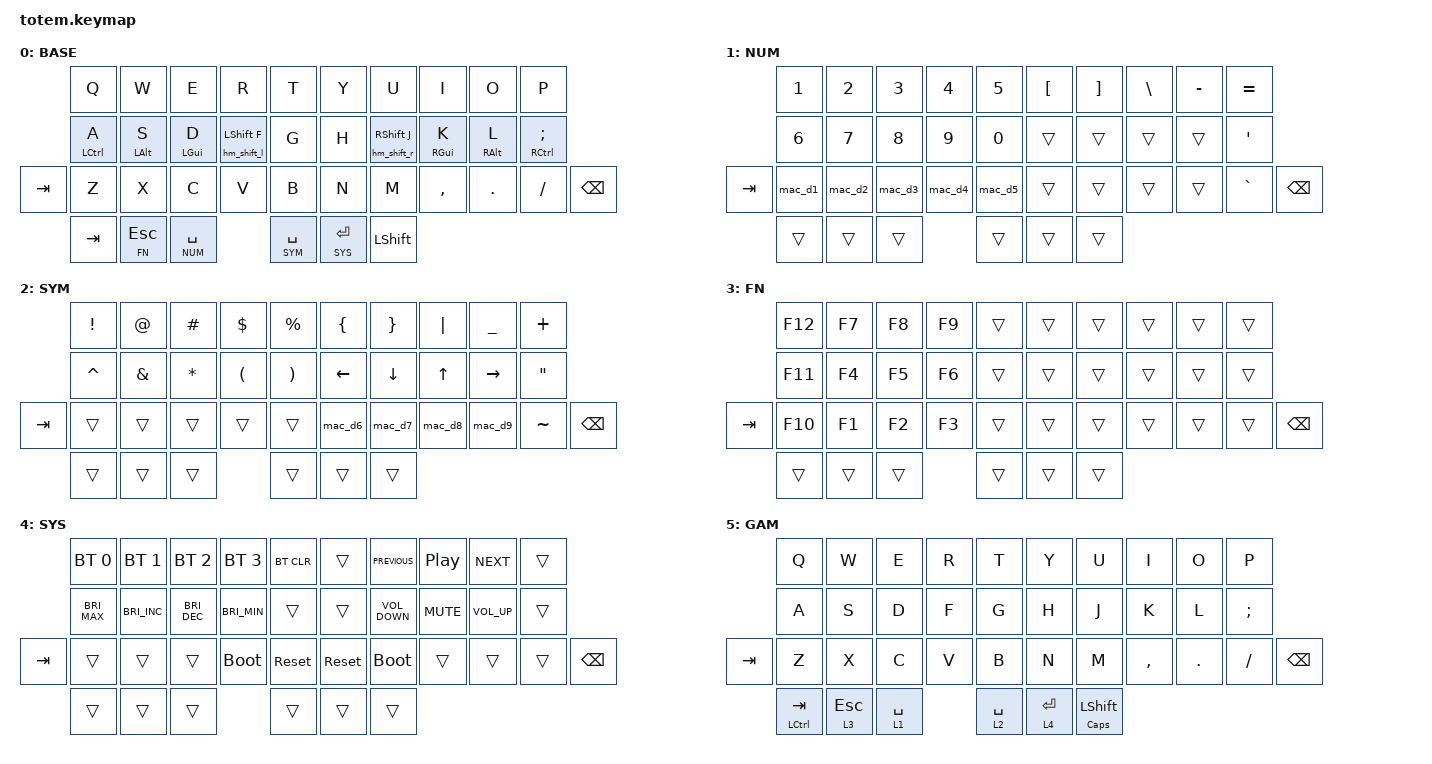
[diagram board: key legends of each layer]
//
//                                                        ▀▀▀▀▀     ▀▀▀▀▀          ▀▀█▀▀
//                                                        ▄▀▀▀▄  ▄  ▄▀▀▀▄  ▄  ▄▀▀▀▄  █  ▄▀▀▀▄
//                                                        █   █  █  █   █  █  █   █  █  █   █
//                                                         ▀▀▀   █   ▀▀▀   █   ▀▀▀   ▀   ▀▀▀
//                                                               █      ▄▄▄█▄▄▄    █   █  
//                                                               ▀      █  █  █     █▄█
//                                                             ▀▀▀▀▀    █  █  █      ▀
//                                                                      ▀  ▀  ▀
//
// ▄▄▄▄▄▄▄▄▄▄▄▄▄▄▄▄▄▄▄▄▄▄▄▄▄▄▄▄▄▄▄▄▄▄▄▄▄▄▄▄▄▄▄▄▄▄▄▄▄▄▄▄▄▄▄▄▄▄▄▄▄▄▄▄▄▄▄▄▄▄▄▄▄▄▄▄▄▄▄▄▄▄▄▄▄▄▄▄▄▄▄▄▄▄▄▄▄▄▄▄▄▄▄▄▄▄▄▄▄▄▄▄▄▄▄▄▄▄▄▄▄▄▄▄▄▄▄▄▄▄▄▄▄▄▄▄▄▄▄▄▄▄▄▄▄▄▄▄▄
       

#include <behaviors.dtsi>
#include <dt-bindings/zmk/keys.h>
#include <dt-bindings/zmk/bt.h>
#include <dt-bindings/zmk/outputs.h>
#include "totem.h"
#define KEYS_L LT0 LT1 LT2 LT3 LT4 LM0 LM1 LM2 LM3 LM4 LB0 LB1 LB2 LB3 LB4
#define KEYS_R RT0 RT1 RT2 RT3 RT4 RM0 RM1 RM2 RM3 RM4 RB0 RB1 RB2 RB3 RB4
#define KEYS_T LH2 LH1 LH0 RH0 RH1 RH2

#include "includes/behaviours_homerow_mods.dtsi"


#define BASE 0
#define NUM  1
#define SYM  2
#define FN  3
#define SYS 4
#define GAM 5

&mt {
  quick-tap-ms = <100>;
  global-quick-tap;
  flavor = "tap-preferred";
  tapping-term-ms = <150>;
};

/ {
     combos {
            compatible = "zmk,combos";
            combo_tab_gaming_layer {
            timeout-ms = <50>;
            key-positions = <20 31>;
            bindings = <&tog GAM>;
            layers = <0 5>;
            };

    };

    macros {
        gif: gif {
            label = "giphy";
            compatible = "zmk,behavior-macro";
            #binding-cells = <0>;
            bindings
                = <&macro_press &kp LSHFT>
                , <&macro_tap &kp N2>
                , <&macro_release &kp LSHFT>
                , <&macro_tap &kp G &kp I &kp F>
                ;
        };
        mac_d1: macd1 {
            compatible = "zmk,behavior-macro";
            #binding-cells = <0>;
            bindings = <&macro_press &kp LCTRL>, <&macro_tap &kp N1>, <&macro_release &kp LCTRL>;
        };
        mac_d2: mac_d2 {
            compatible = "zmk,behavior-macro";
            #binding-cells = <0>;
            bindings = <&macro_press &kp LCTRL>, <&macro_tap &kp N2>, <&macro_release &kp LCTRL>;
        };

        mac_d3: mac_d3 {
            compatible = "zmk,behavior-macro";
            #binding-cells = <0>;
            bindings = <&macro_press &kp LCTRL>, <&macro_tap &kp N3>, <&macro_release &kp LCTRL>;
        };

        mac_d4: mac_d4 {
            compatible = "zmk,behavior-macro";
            #binding-cells = <0>;
            bindings = <&macro_press &kp LCTRL>, <&macro_tap &kp N4>, <&macro_release &kp LCTRL>;
        };

        mac_d5: mac_d5 {
            compatible = "zmk,behavior-macro";
            #binding-cells = <0>;
            bindings = <&macro_press &kp LCTRL>, <&macro_tap &kp N5>, <&macro_release &kp LCTRL>;
        };

        mac_d6: mac_d6 {
            compatible = "zmk,behavior-macro";
            #binding-cells = <0>;
            bindings = <&macro_press &kp LCTRL>, <&macro_tap &kp N6>, <&macro_release &kp LCTRL>;
        };

        mac_d7: mac_d7 {
            compatible = "zmk,behavior-macro";
            #binding-cells = <0>;
            bindings = <&macro_press &kp LCTRL>, <&macro_tap &kp N7>, <&macro_release &kp LCTRL>;
        };

        mac_d8: mac_d8 {
            compatible = "zmk,behavior-macro";
            #binding-cells = <0>;
            bindings = <&macro_press &kp LCTRL>, <&macro_tap &kp N8>, <&macro_release &kp LCTRL>;
        };

        mac_d9: mac_d9 {
            compatible = "zmk,behavior-macro";
            #binding-cells = <0>;
            bindings = <&macro_press &kp LCTRL>, <&macro_tap &kp N9>, <&macro_release &kp LCTRL>;
        };
    };

        keymap {
                compatible = "zmk,keymap";
// ▄▄▄▄▄▄▄▄▄▄▄▄▄▄▄▄▄▄▄▄▄▄▄▄▄▄▄▄▄▄▄▄▄▄▄▄▄▄▄▄▄▄▄▄▄▄▄▄▄▄▄▄▄▄▄▄▄▄▄▄▄▄▄▄▄▄▄▄▄▄▄▄▄▄▄▄▄▄▄▄▄▄▄▄▄▄▄▄▄▄▄▄▄▄▄▄▄▄▄▄▄▄▄▄▄▄▄▄▄▄▄▄▄▄▄▄▄▄▄▄▄▄▄▄▄▄▄▄▄▄▄▄▄▄▄▄▄▄▄▄▄▄▄▄▄▄▄▄▄

                base_layer {
// ┏━━━━━━━━━━━━━━━━━━━━━━━━━━━━━━━━━━━━━━━┓
label= "BASE"                              ;
// ┗━━━━━━━━━━━━━━━━━━━━━━━━━━━━━━━━━━━━━━━┛
//             ┏━━━━━━━━━━━┳━━━━━━━━━━━┳━━━━━━━━━━━┳━━━━━━━━━━━┳━━━━━━━━━━━┓   ┏━━━━━━━━━━━┳━━━━━━━━━━━┳━━━━━━━━━━━┳━━━━━━━━━━━┳━━━━━━━━━━━┓
//             ┃     Q     ┃     W     ┃     E     ┃     R     ┃     T     ┃   ┃     Y     ┃     U     ┃     I     ┃     O     ┃     P     ┃
//             ┣━━━━━━━━━━━╋━━━━━━━━━━━╋━━━━━━━━━━━╋━━━━━━━━━━━╋━━━━━━━━━━━┫   ┣━━━━━━━━━━━╋━━━━━━━━━━━╋━━━━━━━━━━━╋━━━━━━━━━━━╋━━━━━━━━━━━┫
//             ┃     A     ┃     S     ┃     D     ┃     F     ┃     G     ┃   ┃     H     ┃     J     ┃     K     ┃     L     ┃     ;     ┃
// ┏━━━━━━━━━━━╋━━━━━━━━━━━╋━━━━━━━━━━━╋━━━━━━━━━━━╋━━━━━━━━━━━╋━━━━━━━━━━━┫   ┣━━━━━━━━━━━╋━━━━━━━━━━━╋━━━━━━━━━━━╋━━━━━━━━━━━╋━━━━━━━━━━━╋━━━━━━━━━━━┓
// ┃     Z     ┃     Z     ┃     X     ┃     C     ┃     V     ┃     B     ┃   ┃     K     ┃     M     ┃     ,     ┃     .     ┃     /     ┃     \     ┃
// ┗━━━━━━━━━━━┻━━━━━━━━━━━┻━━━━━━━━━━━╋━━━━━━━━━━━╋━━━━━━━━━━━╋━━━━━━━━━━━┫   ┣━━━━━━━━━━━╋━━━━━━━━━━━╋━━━━━━━━━━━╋━━━━━━━━━━━┻━━━━━━━━━━━┻━━━━━━━━━━━┛
//                                     ┃    DEL    ┃    TAB    ┃    SPC    ┃   ┃   ENTER   ┃           ┃   BSPC    ┃
//                                     ┗━━━━━━━━━━━┻━━━━━━━━━━━┻━━━━━━━━━━━┛   ┗━━━━━━━━━━━┻━━━━━━━━━━━┻━━━━━━━━━━━┛
 bindings = <
// ╷           ╷           ╷           ╷           ╷           ╷           ╷   ╷           ╷           ╷           ╷           ╷           ╷           ╷

                &kp Q       &kp W       &kp E       &kp R       &kp T           &kp Y       &kp U       &kp I       &kp O       &kp P
&hm_l LCTRL A  &hm_l LALT S  &hm_l LGUI D   &hm_shift_l LSHFT F &kp G   &kp H  &hm_shift_r RSHFT J &hm_r RGUI K      &hm_r RALT L       &hm_r RCTRL SEMI
    &kp TAB       &kp Z       &kp X       &kp C       &kp V       &kp B           &kp N       &kp M       &kp COMMA   &kp DOT     &kp FSLH    &kp BSPC
                              &kp TAB   &lt FN ESC   &lt NUM SPACE       &lt SYM SPC   &lt SYS RET   &kp LSHIFT
                        >;
                };

// ▄▄▄▄▄▄▄▄▄▄▄▄▄▄▄▄▄▄▄▄▄▄▄▄▄▄▄▄▄▄▄▄▄▄▄▄▄▄▄▄▄▄▄▄▄▄▄▄▄▄▄▄▄▄▄▄▄▄▄▄▄▄▄▄▄▄▄▄▄▄▄▄▄▄▄▄▄▄▄▄▄▄▄▄▄▄▄▄▄▄▄▄▄▄▄▄▄▄▄▄▄▄▄▄▄▄▄▄▄▄▄▄▄▄▄▄▄▄▄▄▄▄▄▄▄▄▄▄▄▄▄▄▄▄▄▄▄▄▄▄▄▄▄▄▄▄▄▄▄


                num_layer {
// ┏━━━━━━━━━━━━━━━━━━━━━━━━━━━━━━━━━━━━━━━┓
label= "NUM"                              ;
// ┗━━━━━━━━━━━━━━━━━━━━━━━━━━━━━━━━━━━━━━━┛
//             ┏━━━━━━━━━━━┳━━━━━━━━━━━┳━━━━━━━━━━━┳━━━━━━━━━━━┳━━━━━━━━━━━┓   ┏━━━━━━━━━━━┳━━━━━━━━━━━┳━━━━━━━━━━━┳━━━━━━━━━━━┳━━━━━━━━━━━┓
//             ┃           ┃           ┃     UP    ┃           ┃     {     ┃   ┃     }     ┃     7     ┃     8     ┃     9     ┃     +     ┃
//             ┣━━━━━━━━━━━╋━━━━━━━━━━━╋━━━━━━━━━━━╋━━━━━━━━━━━╋━━━━━━━━━━━┫   ┣━━━━━━━━━━━╋━━━━━━━━━━━╋━━━━━━━━━━━╋━━━━━━━━━━━╋━━━━━━━━━━━┫
//             ┃   SHIFT   ┃   LEFT    ┃    DOWN   ┃   RIGHT   ┃     [     ┃   ┃     ]     ┃     4     ┃     5     ┃     6     ┃     -     ┃
// ┏━━━━━━━━━━━╋━━━━━━━━━━━╋━━━━━━━━━━━╋━━━━━━━━━━━╋━━━━━━━━━━━╋━━━━━━━━━━━┫   ┣━━━━━━━━━━━╋━━━━━━━━━━━╋━━━━━━━━━━━╋━━━━━━━━━━━╋━━━━━━━━━━━╋━━━━━━━━━━━┓
// ┃           ┃           ┃   P UP    ┃  C LOCK   ┃  P DOWN   ┃     (     ┃   ┃     )     ┃     1     ┃     2     ┃     3     ┃     *     ┃           ┃
// ┗━━━━━━━━━━━┻━━━━━━━━━━━┻━━━━━━━━━━━╋━━━━━━━━━━━╋━━━━━━━━━━━╋━━━━━━━━━━━┫   ┣━━━━━━━━━━━╋━━━━━━━━━━━╋━━━━━━━━━━━╋━━━━━━━━━━━┻━━━━━━━━━━━┻━━━━━━━━━━━┛
//                                     ┃           ┃    TAB    ┃    SPC    ┃   ┃    DEL    ┃     0     ┃           ┃
//                                     ┗━━━━━━━━━━━┻━━━━━━━━━━━┻━━━━━━━━━━━┛   ┗━━━━━━━━━━━┻━━━━━━━━━━━┻━━━━━━━━━━━┛
 bindings = <
// ╷           ╷           ╷           ╷           ╷           ╷           ╷   ╷           ╷           ╷           ╷           ╷           ╷           ╷

                &kp N1   &kp N2    &kp N3    &kp N4     &kp N5   &kp LBKT  &kp RBKT &kp BSLH &kp MINUS &kp EQUAL
                &kp N6   &kp N7    &kp N8    &kp N9     &kp N0   &trans    &trans   &trans   &trans    &kp SQT
      &kp TAB   &mac_d1  &mac_d2   &mac_d3   &mac_d4    &mac_d5  &trans    &trans   &trans   &trans    &kp GRAVE   &kp BSPC
                &trans      &trans      &trans      &trans &trans  &trans
                        >;
                };

// ▄▄▄▄▄▄▄▄▄▄▄▄▄▄▄▄▄▄▄▄▄▄▄▄▄▄▄▄▄▄▄▄▄▄▄▄▄▄▄▄▄▄▄▄▄▄▄▄▄▄▄▄▄▄▄▄▄▄▄▄▄▄▄▄▄▄▄▄▄▄▄▄▄▄▄▄▄▄▄▄▄▄▄▄▄▄▄▄▄▄▄▄▄▄▄▄▄▄▄▄▄▄▄▄▄▄▄▄▄▄▄▄▄▄▄▄▄▄▄▄▄▄▄▄▄▄▄▄▄▄▄▄▄▄▄▄▄▄▄▄▄▄▄▄▄▄▄▄▄


                symbol_layer {
// ┏━━━━━━━━━━━━━━━━━━━━━━━━━━━━━━━━━━━━━━━┓
label= "SYM"                               ;
// ┗━━━━━━━━━━━━━━━━━━━━━━━━━━━━━━━━━━━━━━━┛
//             ┏━━━━━━━━━━━┳━━━━━━━━━━━┳━━━━━━━━━━━┳━━━━━━━━━━━┳━━━━━━━━━━━┓   ┏━━━━━━━━━━━┳━━━━━━━━━━━┳━━━━━━━━━━━┳━━━━━━━━━━━┳━━━━━━━━━━━┓
//             ┃     !     ┃     @     ┃     #     ┃     $     ┃     %     ┃   ┃     ˆ     ┃     &     ┃     Ü     ┃     '     ┃     "     ┃
//             ┣━━━━━━━━━━━╋━━━━━━━━━━━╋━━━━━━━━━━━╋━━━━━━━━━━━╋━━━━━━━━━━━┫   ┣━━━━━━━━━━━╋━━━━━━━━━━━╋━━━━━━━━━━━╋━━━━━━━━━━━╋━━━━━━━━━━━┫
//             ┃     Ä     ┃           ┃    SZ     ┃           ┃           ┃   ┃   MUTE    ┃   YEN     ┃   EURO    ┃  POUND    ┃     Ö     ┃
// ┏━━━━━━━━━━━╋━━━━━━━━━━━╋━━━━━━━━━━━╋━━━━━━━━━━━╋━━━━━━━━━━━╋━━━━━━━━━━━┫   ┣━━━━━━━━━━━╋━━━━━━━━━━━╋━━━━━━━━━━━╋━━━━━━━━━━━╋━━━━━━━━━━━╋━━━━━━━━━━━┓
// ┃           ┃  EMAIL1   ┃  EMAIL2   ┃           ┃           ┃           ┃   ┃   VOL-    ┃   VOL+    ┃   LAST    ┃   NEXT    ┃     \     ┃           ┃
// ┗━━━━━━━━━━━┻━━━━━━━━━━━┻━━━━━━━━━━━╋━━━━━━━━━━━╋━━━━━━━━━━━╋━━━━━━━━━━━┫   ┣━━━━━━━━━━━╋━━━━━━━━━━━╋━━━━━━━━━━━╋━━━━━━━━━━━┻━━━━━━━━━━━┻━━━━━━━━━━━┛
//                                     ┃           ┃    GIF    ┃    ADJ    ┃   ┃           ┃           ┃           ┃
//                                     ┗━━━━━━━━━━━┻━━━━━━━━━━━┻━━━━━━━━━━━┛   ┗━━━━━━━━━━━┻━━━━━━━━━━━┻━━━━━━━━━━━┛
 bindings = <
// ╷           ╷           ╷           ╷           ╷           ╷           ╷   ╷           ╷           ╷           ╷           ╷           ╷           ╷

                &kp EXCL    &kp AT      &kp HASH    &kp DLLR    &kp PRCNT       &kp LBRC  &kp RBRC &kp PIPE &kp UNDER &kp PLUS
                &kp CARET   &kp AMPS    &kp ASTRK   &kp LPAR    &kp RPAR        &kp LEFT &kp DOWN &kp UP &kp RIGHT &kp DQT
      &kp TAB   &trans  &trans   &trans   &trans    &trans  &mac_d6    &mac_d7   &mac_d8   &mac_d9    &kp TILDE   &kp BSPC
                &trans      &trans      &trans      &trans &trans  &trans
                        >;
                };

// ▄▄▄▄▄▄▄▄▄▄▄▄▄▄▄▄▄▄▄▄▄▄▄▄▄▄▄▄▄▄▄▄▄▄▄▄▄▄▄▄▄▄▄▄▄▄▄▄▄▄▄▄▄▄▄▄▄▄▄▄▄▄▄▄▄▄▄▄▄▄▄▄▄▄▄▄▄▄▄▄▄▄▄▄▄▄▄▄▄▄▄▄▄▄▄▄▄▄▄▄▄▄▄▄▄▄▄▄▄▄▄▄▄▄▄▄▄▄▄▄▄▄▄▄▄▄▄▄▄▄▄▄▄▄▄▄▄▄▄▄▄▄▄▄▄▄▄▄▄


                fn_layer {
// ┏━━━━━━━━━━━━━━━━━━━━━━━━━━━━━━━━━━━━━━━┓
label= "FN"                               ;
// ┗━━━━━━━━━━━━━━━━━━━━━━━━━━━━━━━━━━━━━━━┛
//             ┏━━━━━━━━━━━┳━━━━━━━━━━━┳━━━━━━━━━━━┳━━━━━━━━━━━┳━━━━━━━━━━━┓   ┏━━━━━━━━━━━┳━━━━━━━━━━━┳━━━━━━━━━━━┳━━━━━━━━━━━┳━━━━━━━━━━━┓
//             ┃   RESET   ┃ BT CLEAR  ┃  OUT TOG  ┃           ┃           ┃   ┃           ┃    F7     ┃    F8     ┃    F9     ┃    F12    ┃
//             ┣━━━━━━━━━━━╋━━━━━━━━━━━╋━━━━━━━━━━━╋━━━━━━━━━━━╋━━━━━━━━━━━┫   ┣━━━━━━━━━━━╋━━━━━━━━━━━╋━━━━━━━━━━━╋━━━━━━━━━━━╋━━━━━━━━━━━┫
//             ┃ BOOTLOAD  ┃ BT NEXT   ┃           ┃           ┃           ┃   ┃           ┃    F4     ┃    F5     ┃    F6     ┃    F11    ┃
// ┏━━━━━━━━━━━╋━━━━━━━━━━━╋━━━━━━━━━━━╋━━━━━━━━━━━╋━━━━━━━━━━━╋━━━━━━━━━━━┫   ┣━━━━━━━━━━━╋━━━━━━━━━━━╋━━━━━━━━━━━╋━━━━━━━━━━━╋━━━━━━━━━━━╋━━━━━━━━━━━┓
// ┃           ┃           ┃ BT PREV   ┃           ┃           ┃           ┃   ┃           ┃    F1     ┃    F2     ┃    F3     ┃    F10    ┃           ┃
// ┗━━━━━━━━━━━┻━━━━━━━━━━━┻━━━━━━━━━━━╋━━━━━━━━━━━╋━━━━━━━━━━━╋━━━━━━━━━━━┫   ┣━━━━━━━━━━━╋━━━━━━━━━━━╋━━━━━━━━━━━╋━━━━━━━━━━━┻━━━━━━━━━━━┻━━━━━━━━━━━┛
//                                     ┃           ┃           ┃           ┃   ┃           ┃           ┃           ┃
//                                     ┗━━━━━━━━━━━┻━━━━━━━━━━━┻━━━━━━━━━━━┛   ┗━━━━━━━━━━━┻━━━━━━━━━━━┻━━━━━━━━━━━┛
 bindings = <
// ╷           ╷           ╷           ╷           ╷           ╷           ╷   ╷           ╷           ╷           ╷           ╷           ╷           ╷

              &kp F12  &kp F7    &kp F8   &kp F9    &trans     &trans &trans &trans &trans &trans
              &kp F11  &kp F4    &kp F5   &kp F6    &trans     &trans &trans &trans &trans &trans
  &kp TAB     &kp F10  &kp F1    &kp F2   &kp F3    &trans     &trans &trans &trans &trans &trans &kp BSPC
                &trans      &trans      &trans        &trans      &trans      &trans
                        >;
                };

// ▄▄▄▄▄▄▄▄▄▄▄▄▄▄▄▄▄▄▄▄▄▄▄▄▄▄▄▄▄▄▄▄▄▄▄▄▄▄▄▄▄▄▄▄▄▄▄▄▄▄▄▄▄▄▄▄▄▄▄▄▄▄▄▄▄▄▄▄▄▄▄▄▄▄▄▄▄▄▄▄▄▄▄▄▄▄▄▄▄▄▄▄▄▄▄▄▄▄▄▄▄▄▄▄▄▄▄▄▄▄▄▄▄▄▄▄▄▄▄▄▄▄▄▄▄▄▄▄▄▄▄▄▄▄▄▄▄▄▄▄▄▄▄▄▄▄▄▄▄


                sys_layer {
// ┏━━━━━━━━━━━━━━━━━━━━━━━━━━━━━━━━━━━━━━━┓
label= "SYS"                             ;
// ┗━━━━━━━━━━━━━━━━━━━━━━━━━━━━━━━━━━━━━━━┛
//             ┏━━━━━━━━━━━┳━━━━━━━━━━━┳━━━━━━━━━━━┳━━━━━━━━━━━┳━━━━━━━━━━━┓   ┏━━━━━━━━━━━┳━━━━━━━━━━━┳━━━━━━━━━━━┳━━━━━━━━━━━┳━━━━━━━━━━━┓
//             ┃ NEXT FILE ┃ MARK IN   ┃ ROTATE    ┃ MARK OUT  ┃ SHOW SNAP ┃   ┃           ┃           ┃           ┃           ┃           ┃
//             ┣━━━━━━━━━━━╋━━━━━━━━━━━╋━━━━━━━━━━━╋━━━━━━━━━━━╋━━━━━━━━━━━┫   ┣━━━━━━━━━━━╋━━━━━━━━━━━╋━━━━━━━━━━━╋━━━━━━━━━━━╋━━━━━━━━━━━┫
//             ┃ TVP II    ┃ LEFT      ┃ PAN       ┃ RIGHT     ┃ PLAY/FLIP ┃   ┃           ┃           ┃           ┃           ┃           ┃
// ┏━━━━━━━━━━━╋━━━━━━━━━━━╋━━━━━━━━━━━╋━━━━━━━━━━━╋━━━━━━━━━━━╋━━━━━━━━━━━┫   ┣━━━━━━━━━━━╋━━━━━━━━━━━╋━━━━━━━━━━━╋━━━━━━━━━━━╋━━━━━━━━━━━╋━━━━━━━━━━━┓
// ┃ FULLSCR   ┃ SHIFT     ┃ COPY      ┃ DELETE    ┃ PASTE     ┃ IMG MARK  ┃   ┃           ┃           ┃           ┃           ┃           ┃           ┃
// ┗━━━━━━━━━━━┻━━━━━━━━━━━┻━━━━━━━━━━━╋━━━━━━━━━━━╋━━━━━━━━━━━╋━━━━━━━━━━━┫   ┣━━━━━━━━━━━╋━━━━━━━━━━━╋━━━━━━━━━━━╋━━━━━━━━━━━┻━━━━━━━━━━━┻━━━━━━━━━━━┛
//                                     ┃           ┃ UNDO/SAVE ┃  SEL/MOV  ┃   ┃           ┃           ┃           ┃
//                                     ┗━━━━━━━━━━━┻━━━━━━━━━━━┻━━━━━━━━━━━┛   ┗━━━━━━━━━━━┻━━━━━━━━━━━┻━━━━━━━━━━━┛
 bindings = <
// ╷           ╷           ╷           ╷           ╷           ╷           ╷   ╷           ╷           ╷           ╷           ╷           ╷           ╷

 &bt BT_SEL 0 &bt BT_SEL 1 &bt BT_SEL 2 &bt BT_SEL 3   &bt BT_CLR &trans &kp C_PREVIOUS  &kp C_PLAY_PAUSE &kp C_NEXT &trans
 &kp C_BRI_MAX &kp C_BRI_INC  &kp C_BRI_DEC &kp C_BRI_MIN &trans  &trans &kp C_VOLUME_DOWN  &kp C_MUTE  &kp C_VOLUME_UP &trans
      &kp TAB   &trans  &trans   &trans   &bootloader &sys_reset     &sys_reset   &bootloader  &trans   &trans    &trans   &kp BSPC
                &trans      &trans      &trans        &trans      &trans      &trans
                        >;
                };

        gaming_layer {
        label = "GAM";
            bindings = <
         &kp Q  &kp W  &kp E          &kp R      &kp T          &kp Y        &kp U      &kp I                    &kp O      &kp P
         &kp A  &kp S  &kp D          &kp F      &kp G          &kp H        &kp J      &kp K                    &kp L      &kp SEMI
&kp TAB  &kp Z  &kp X  &kp C          &kp V      &kp B          &kp N        &kp M      &kp COMMA                &kp DOT    &kp SLASH   &kp BSPC
                       &mt LCTRL TAB  &lt 3 ESC  &lt 1 SPACE    &lt 2 SPACE  &lt 4 RET  &mt CAPSLOCK LEFT_SHIFT
            >;
        };

//
        };
};
